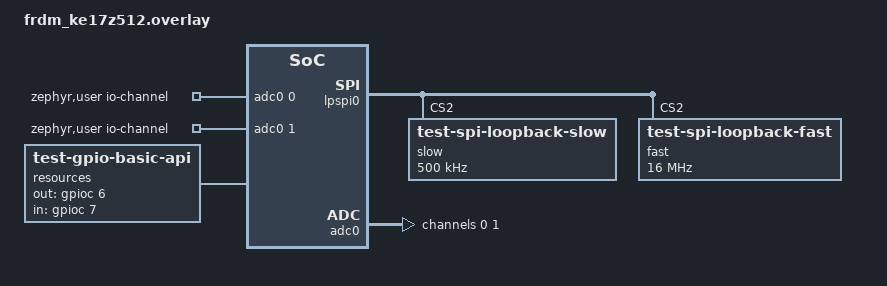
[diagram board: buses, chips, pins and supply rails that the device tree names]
/*
 * Copyright (c) 2022 Kumar Gala <galak@kernel.org>
 *
 * SPDX-License-Identifier: Apache-2.0
 */

tst_dma0: &edma {};

&lpspi0 {
	slow@2 {
		compatible = "test-spi-loopback-slow";
		reg = <2>;
		spi-max-frequency = <500000>;
	};
	fast@2 {
		compatible = "test-spi-loopback-fast";
		reg = <2>;
		spi-max-frequency = <16000000>;
	};
};

/ {
	zephyr,user {
		io-channels = <&adc0 0>, <&adc0 1>;
	};
};

&adc0 {
	#address-cells = <1>;
	#size-cells = <0>;
	channel@0 {
		reg = <0>;
		zephyr,gain = "ADC_GAIN_1";
		zephyr,reference = "ADC_REF_INTERNAL";
		zephyr,acquisition-time = <ADC_ACQ_TIME_DEFAULT>;
		zephyr,resolution = <12>;
	};
	channel@1 {
		reg = <1>;
		zephyr,gain = "ADC_GAIN_1";
		zephyr,reference = "ADC_REF_INTERNAL";
		zephyr,acquisition-time = <ADC_ACQ_TIME_DEFAULT>;
		zephyr,resolution = <12>;
	};
};

/ {
	resources {
		compatible = "test-gpio-basic-api";
		out-gpios = <&gpioc 6 0>;
		in-gpios = <&gpioc 7 0>;
	};
};

&gpioc {
	status = "okay";
};
